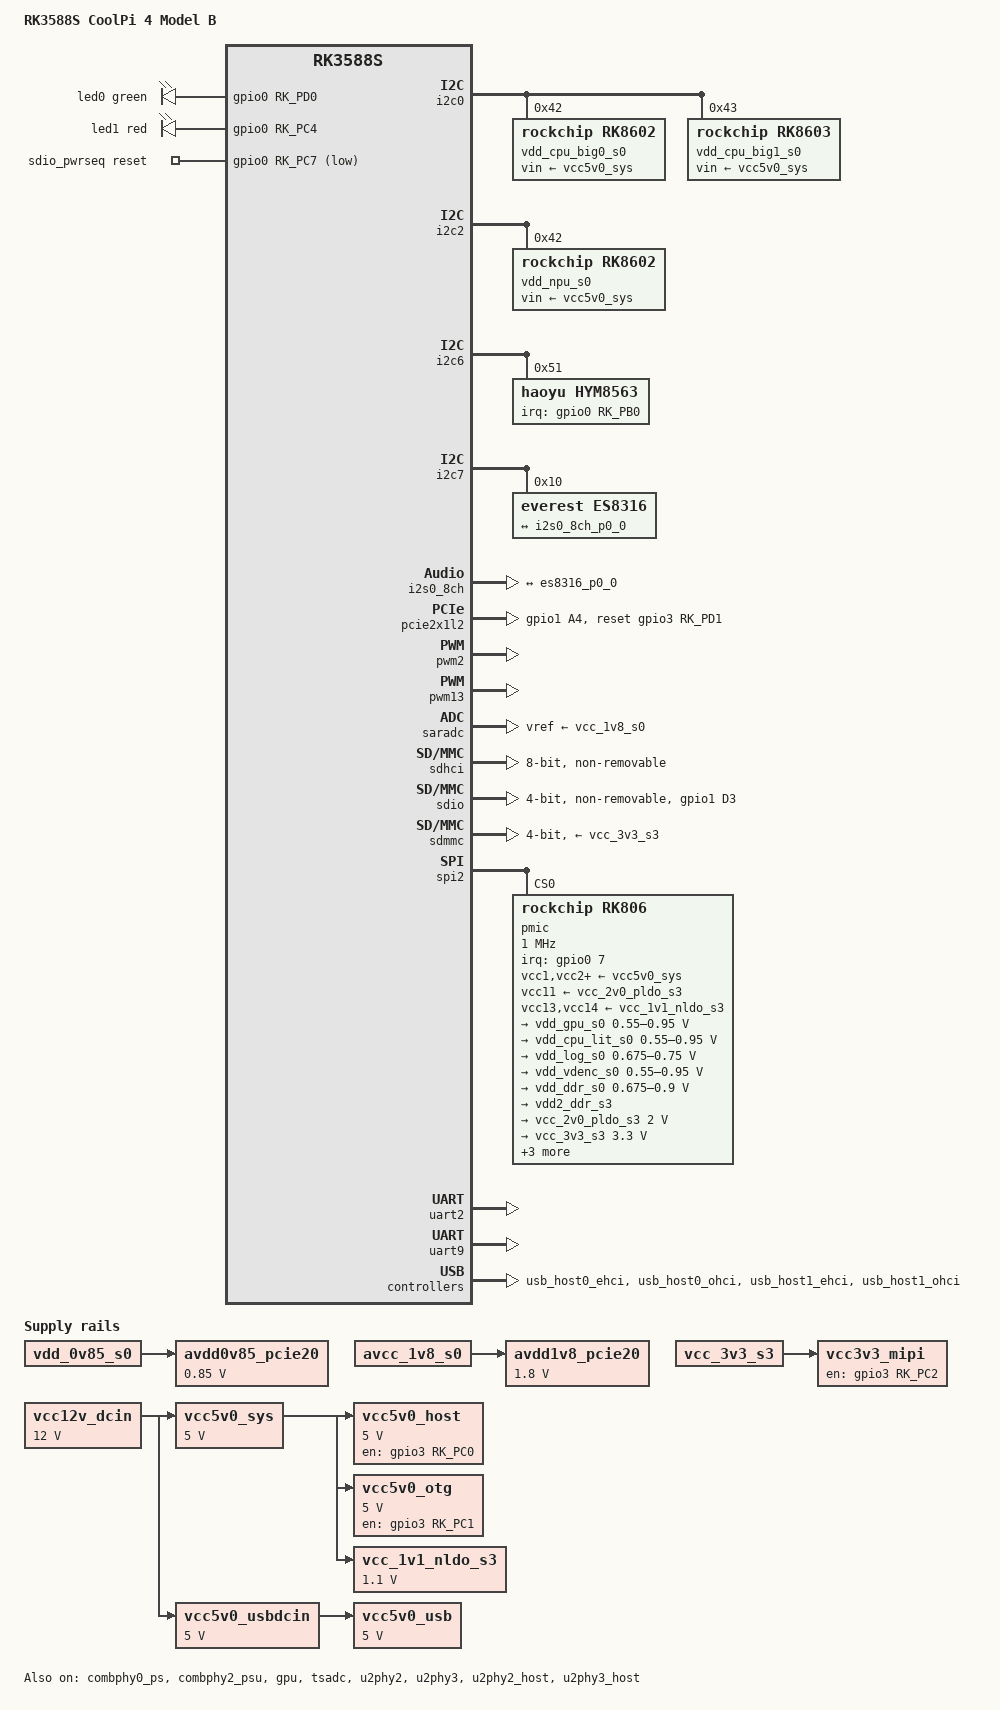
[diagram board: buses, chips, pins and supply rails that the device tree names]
// SPDX-License-Identifier: (GPL-2.0+ OR MIT)
/*
 * Copyright (c) 2023 Rockchip Electronics Co., Ltd.
 *
 * https://cool-pi.com/topic/130/coolpi-4b-product-spec-introduction
 *
 */

/dts-v1/;

#include <dt-bindings/gpio/gpio.h>
#include <dt-bindings/leds/common.h>
#include <dt-bindings/pinctrl/rockchip.h>
#include "rk3588s.dtsi"

/ {
	model = "RK3588S CoolPi 4 Model B";
	compatible = "coolpi,pi-4b", "rockchip,rk3588s";

	aliases {
		mmc0 = &sdhci;
		mmc1 = &sdmmc;
		mmc2 = &sdio;
	};

	analog-sound {
		compatible = "audio-graph-card";
		dais = <&i2s0_8ch_p0>;
		label = "rk3588-es8316";
		routing = "MIC2", "Mic Jack",
			  "Headphones", "HPOL",
			  "Headphones", "HPOR";
		widgets = "Microphone", "Mic Jack",
			  "Headphone", "Headphones";
	};

	chosen {
		stdout-path = "serial2:1500000n8";
	};

	leds: leds {
		compatible = "gpio-leds";
		pinctrl-names = "default";
		pinctrl-0 = <&gpio_leds>;

		led0: led-green {
			color = <LED_COLOR_ID_GREEN>;
			function = LED_FUNCTION_STATUS;
			gpios = <&gpio0 RK_PD0 GPIO_ACTIVE_HIGH>;
			linux,default-trigger = "heartbeat";
		};

		led1: led-red {
			color = <LED_COLOR_ID_RED>;
			default-state = "off";
			function = LED_FUNCTION_WLAN;
			gpios = <&gpio0 RK_PC4 GPIO_ACTIVE_HIGH>;
			linux,default-trigger = "phy0tx";
		};
	};

	sdio_pwrseq: sdio-pwrseq {
		compatible = "mmc-pwrseq-simple";
		clocks = <&hym8563>;
		clock-names = "ext_clock";
		pinctrl-names = "default";
		pinctrl-0 = <&wifi_enable_h>;
		/*
		 * On the module itself this is one of these (depending
		 * on the actual card populated):
		 * - SDIO_RESET_L_WL_REG_ON
		 * - PDN (power down when low)
		 */
		post-power-on-delay-ms = <200>;
		reset-gpios = <&gpio0 RK_PC7 GPIO_ACTIVE_LOW>;
	};

	vcc12v_dcin: vcc12v-dcin-regulator {
		compatible = "regulator-fixed";
		regulator-name = "vcc12v_dcin";
		regulator-always-on;
		regulator-boot-on;
		regulator-min-microvolt = <12000000>;
		regulator-max-microvolt = <12000000>;
	};

	vcc5v0_sys: vcc5v0-sys-regulator {
		compatible = "regulator-fixed";
		regulator-name = "vcc5v0_sys";
		regulator-always-on;
		regulator-boot-on;
		regulator-min-microvolt = <5000000>;
		regulator-max-microvolt = <5000000>;
		vin-supply = <&vcc12v_dcin>;
	};

	vcc5v0_usbdcin: vcc5v0-usbdcin-regulator {
		compatible = "regulator-fixed";
		regulator-name = "vcc5v0_usbdcin";
		regulator-always-on;
		regulator-boot-on;
		regulator-min-microvolt = <5000000>;
		regulator-max-microvolt = <5000000>;
		vin-supply = <&vcc12v_dcin>;
	};

	vcc5v0_usb: vcc5v0-usb-regulator {
		compatible = "regulator-fixed";
		regulator-name = "vcc5v0_usb";
		regulator-always-on;
		regulator-boot-on;
		regulator-min-microvolt = <5000000>;
		regulator-max-microvolt = <5000000>;
		vin-supply = <&vcc5v0_usbdcin>;
	};

	avdd0v85_pcie20: avdd0v85-pcie20-regulator {
		compatible = "regulator-fixed";
		regulator-name = "avdd0v85_pcie20";
		regulator-boot-on;
		regulator-always-on;
		regulator-min-microvolt = <850000>;
		regulator-max-microvolt = <850000>;
		vin-supply = <&vdd_0v85_s0>;
	};

	avdd1v8_pcie20: avdd1v8-pcie20-regulator {
		compatible = "regulator-fixed";
		regulator-name = "avdd1v8_pcie20";
		regulator-boot-on;
		regulator-always-on;
		regulator-min-microvolt = <1800000>;
		regulator-max-microvolt = <1800000>;
		vin-supply = <&avcc_1v8_s0>;
	};

	vcc3v3_mipi: vcc3v3-mipi-regulator {
		compatible = "regulator-fixed";
		enable-active-high;
		gpio = <&gpio3 RK_PC2 GPIO_ACTIVE_HIGH>;
		regulator-name = "vcc3v3_mipi";
		regulator-boot-on;
		regulator-always-on;
		vin-supply = <&vcc_3v3_s3>;
	};

	vcc5v0_host: vcc5v0-host-regulator {
		compatible = "regulator-fixed";
		enable-active-high;
		gpio = <&gpio3 RK_PC0 GPIO_ACTIVE_HIGH>;
		pinctrl-names = "default";
		pinctrl-0 = <&vcc5v0_host_en>;
		regulator-name = "vcc5v0_host";
		regulator-boot-on;
		regulator-always-on;
		regulator-min-microvolt = <5000000>;
		regulator-max-microvolt = <5000000>;
		vin-supply = <&vcc5v0_sys>;
	};

	vcc5v0_otg: vcc5v0-otg-regulator {
		compatible = "regulator-fixed";
		enable-active-high;
		gpio = <&gpio3 RK_PC1 GPIO_ACTIVE_HIGH>;
		pinctrl-names = "default";
		pinctrl-0 = <&vcc5v0_u3host_en>;
		regulator-name = "vcc5v0_otg";
		regulator-boot-on;
		regulator-always-on;
		regulator-min-microvolt = <5000000>;
		regulator-max-microvolt = <5000000>;
		vin-supply = <&vcc5v0_sys>;
	};

	vcc_1v1_nldo_s3: vcc-1v1-nldo-s3-regulator {
		compatible = "regulator-fixed";
		regulator-name = "vcc_1v1_nldo_s3";
		regulator-always-on;
		regulator-boot-on;
		regulator-min-microvolt = <1100000>;
		regulator-max-microvolt = <1100000>;
		vin-supply = <&vcc5v0_sys>;
	};
};

&combphy0_ps {
	status = "okay";
};

&combphy2_psu {
	status = "okay";
};

&cpu_l0 {
	cpu-supply = <&vdd_cpu_lit_s0>;
};

&cpu_b0 {
	cpu-supply = <&vdd_cpu_big0_s0>;
};

&cpu_b2 {
	cpu-supply = <&vdd_cpu_big1_s0>;
};

&gpu {
	mali-supply = <&vdd_gpu_s0>;
	status = "okay";
};

&i2c0 {
	pinctrl-0 = <&i2c0m2_xfer>;
	status = "okay";

	vdd_cpu_big0_s0: regulator@42 {
		compatible = "rockchip,rk8602";
		reg = <0x42>;
		fcs,suspend-voltage-selector = <1>;
		regulator-name = "vdd_cpu_big0_s0";
		regulator-always-on;
		regulator-boot-on;
		regulator-min-microvolt = <550000>;
		regulator-max-microvolt = <1050000>;
		regulator-ramp-delay = <2300>;
		vin-supply = <&vcc5v0_sys>;

		regulator-state-mem {
			regulator-off-in-suspend;
		};
	};

	vdd_cpu_big1_s0: regulator@43 {
		compatible = "rockchip,rk8603", "rockchip,rk8602";
		reg = <0x43>;
		fcs,suspend-voltage-selector = <1>;
		regulator-name = "vdd_cpu_big1_s0";
		regulator-always-on;
		regulator-boot-on;
		regulator-min-microvolt = <550000>;
		regulator-max-microvolt = <1050000>;
		regulator-ramp-delay = <2300>;
		vin-supply = <&vcc5v0_sys>;

		regulator-state-mem {
			regulator-off-in-suspend;
		};
	};
};

&i2c2 {
	status = "okay";

	vdd_npu_s0: regulator@42 {
		compatible = "rockchip,rk8602";
		reg = <0x42>;
		fcs,suspend-voltage-selector = <1>;
		regulator-name = "vdd_npu_s0";
		regulator-always-on;
		regulator-boot-on;
		regulator-min-microvolt = <550000>;
		regulator-max-microvolt = <950000>;
		regulator-ramp-delay = <2300>;
		vin-supply = <&vcc5v0_sys>;

		regulator-state-mem {
			regulator-off-in-suspend;
		};
	};
};

&i2c6 {
	pinctrl-0 = <&i2c6m3_xfer>;
	status = "okay";

	hym8563: rtc@51 {
		compatible = "haoyu,hym8563";
		reg = <0x51>;
		interrupt-parent = <&gpio0>;
		interrupts = <RK_PB0 IRQ_TYPE_LEVEL_LOW>;
		#clock-cells = <0>;
		clock-output-names = "hym8563";
		pinctrl-names = "default";
		pinctrl-0 = <&hym8563_int>;
	};
};

&i2c7 {
	pinctrl-0 = <&i2c7m0_xfer>;
	status = "okay";

	es8316: audio-codec@10 {
		compatible = "everest,es8316";
		reg = <0x10>;
		assigned-clocks = <&cru I2S0_8CH_MCLKOUT>;
		assigned-clock-rates = <12288000>;
		clocks = <&cru I2S0_8CH_MCLKOUT>;
		clock-names = "mclk";
		#sound-dai-cells = <0>;

		port {
			es8316_p0_0: endpoint {
				remote-endpoint = <&i2s0_8ch_p0_0>;
			};
		};
	};
};

&i2s0_8ch {
	pinctrl-0 = <&i2s0_lrck
		     &i2s0_mclk
		     &i2s0_sclk
		     &i2s0_sdi0
		     &i2s0_sdo0>;
	status = "okay";

	i2s0_8ch_p0: port {
		i2s0_8ch_p0_0: endpoint {
			dai-format = "i2s";
			mclk-fs = <256>;
			remote-endpoint = <&es8316_p0_0>;
		};
	};
};

&pcie2x1l2 {
	pinctrl-names = "default";
	pinctrl-0 = <&rtl8111_isolate>;
	reset-gpios = <&gpio3 RK_PD1 GPIO_ACTIVE_HIGH>;
	status = "okay";
};

&pinctrl {
	hym8563 {
		hym8563_int: hym8563-int {
			rockchip,pins = <0 RK_PB0 RK_FUNC_GPIO &pcfg_pull_up>;
		};
	};

	led {
		gpio_leds: gpio-leds {
			rockchip,pins = <0 RK_PC4 RK_FUNC_GPIO &pcfg_pull_down>,
					<0 RK_PD0 RK_FUNC_GPIO &pcfg_pull_down>;
		};
	};

	rtl8111 {
		rtl8111_isolate: rtl8111-isolate {
			rockchip,pins = <1 RK_PA4 RK_FUNC_GPIO &pcfg_pull_up>;
		};
	};

	sdio-pwrseq {
		wifi_enable_h: wifi-enable-h {
			rockchip,pins = <0 RK_PC7 RK_FUNC_GPIO &pcfg_pull_up>;
		};
	};

	usb {
		vcc5v0_host_en: vcc5v0-host-en {
			rockchip,pins = <3 RK_PC0 RK_FUNC_GPIO &pcfg_pull_none>,
					<4 RK_PB5 RK_FUNC_GPIO &pcfg_pull_up>;
		};

		vcc5v0_u3host_en: vcc5v0-u3host-en {
			rockchip,pins = <3 RK_PC1 RK_FUNC_GPIO &pcfg_pull_none>;
		};
	};

	wireless-bluetooth {
		bt_reset_gpio: bt-reset-pin {
			rockchip,pins = <0 RK_PD3 RK_FUNC_GPIO &pcfg_pull_none>;
		};

		bt_wake_gpio: bt-wake-pin {
			rockchip,pins = <0 RK_PC6 RK_FUNC_GPIO &pcfg_pull_none>;
		};

		bt_wake_host_irq: bt-wake-host-irq {
			rockchip,pins = <0 RK_PC5 RK_FUNC_GPIO &pcfg_pull_down>;
		};
	};

	wireless-wlan {
		wifi_host_wake_irq: wifi-host-wake-irq {
			rockchip,pins = <0 RK_PA0 RK_FUNC_GPIO &pcfg_pull_down>;
		};

		wifi_poweren_pin: wifi-poweren-pin {
			rockchip,pins = <1 RK_PD3 RK_FUNC_GPIO &pcfg_pull_up>;
		};
	};
};

&pwm2 {
	pinctrl-0 = <&pwm2m1_pins>;
	status = "okay";
};

&pwm13 {
	pinctrl-names = "active";
	pinctrl-0 = <&pwm13m2_pins>;
	status = "okay";
};

&saradc {
	vref-supply = <&vcc_1v8_s0>;
	status = "okay";
};

&sdhci {
	bus-width = <8>;
	max-frequency = <200000000>;
	mmc-hs400-1_8v;
	mmc-hs400-enhanced-strobe;
	no-sdio;
	no-sd;
	non-removable;
	status = "okay";
};

&sdio {
	bus-width = <4>;
	cap-sd-highspeed;
	cap-sdio-irq;
	disable-wp;
	keep-power-in-suspend;
	max-frequency = <150000000>;
	mmc-pwrseq = <&sdio_pwrseq>;
	no-sd;
	no-mmc;
	non-removable;
	pinctrl-names = "default";
	pinctrl-0 = <&sdiom1_pins>,<&wifi_poweren_pin>;
	status = "okay";
};

&sdmmc {
	bus-width = <4>;
	cap-mmc-highspeed;
	cap-sd-highspeed;
	disable-wp;
	max-frequency = <150000000>;
	no-sdio;
	no-mmc;
	sd-uhs-sdr104;
	vmmc-supply = <&vcc_3v3_s3>;
	vqmmc-supply = <&vccio_sd_s0>;
	status = "okay";
};

&spi2 {
	assigned-clocks = <&cru CLK_SPI2>;
	assigned-clock-rates = <200000000>;
	num-cs = <1>;
	pinctrl-names = "default";
	pinctrl-0 = <&spi2m2_cs0 &spi2m2_pins>;
	status = "okay";

	pmic@0 {
		compatible = "rockchip,rk806";
		reg = <0x0>;
		interrupt-parent = <&gpio0>;
		interrupts = <7 IRQ_TYPE_LEVEL_LOW>;
		gpio-controller;
		#gpio-cells = <2>;
		pinctrl-names = "default";
		pinctrl-0 = <&pmic_pins>, <&rk806_dvs1_null>,
			    <&rk806_dvs2_null>, <&rk806_dvs3_null>;
		spi-max-frequency = <1000000>;
		vcc1-supply = <&vcc5v0_sys>;
		vcc2-supply = <&vcc5v0_sys>;
		vcc3-supply = <&vcc5v0_sys>;
		vcc4-supply = <&vcc5v0_sys>;
		vcc5-supply = <&vcc5v0_sys>;
		vcc6-supply = <&vcc5v0_sys>;
		vcc7-supply = <&vcc5v0_sys>;
		vcc8-supply = <&vcc5v0_sys>;
		vcc9-supply = <&vcc5v0_sys>;
		vcc10-supply = <&vcc5v0_sys>;
		vcc11-supply = <&vcc_2v0_pldo_s3>;
		vcc12-supply = <&vcc5v0_sys>;
		vcc13-supply = <&vcc_1v1_nldo_s3>;
		vcc14-supply = <&vcc_1v1_nldo_s3>;
		vcca-supply = <&vcc5v0_sys>;

		rk806_dvs1_null: dvs1-null-pins {
			pins = "gpio_pwrctrl1";
			function = "pin_fun0";
		};

		rk806_dvs2_null: dvs2-null-pins {
			pins = "gpio_pwrctrl2";
			function = "pin_fun0";
		};

		rk806_dvs3_null: dvs3-null-pins {
			pins = "gpio_pwrctrl3";
			function = "pin_fun0";
		};

		regulators {
			vdd_gpu_s0: vdd_gpu_mem_s0: dcdc-reg1 {
				regulator-name = "vdd_gpu_s0";
				regulator-boot-on;
				regulator-min-microvolt = <550000>;
				regulator-max-microvolt = <950000>;
				regulator-ramp-delay = <12500>;
				regulator-enable-ramp-delay = <400>;

				regulator-state-mem {
					regulator-off-in-suspend;
				};
			};

			vdd_cpu_lit_s0: vdd_cpu_lit_mem_s0: dcdc-reg2 {
				regulator-name = "vdd_cpu_lit_s0";
				regulator-always-on;
				regulator-boot-on;
				regulator-min-microvolt = <550000>;
				regulator-max-microvolt = <950000>;
				regulator-ramp-delay = <12500>;

				regulator-state-mem {
					regulator-off-in-suspend;
				};
			};

			vdd_log_s0: dcdc-reg3 {
				regulator-name = "vdd_log_s0";
				regulator-always-on;
				regulator-boot-on;
				regulator-min-microvolt = <675000>;
				regulator-max-microvolt = <750000>;
				regulator-ramp-delay = <12500>;

				regulator-state-mem {
					regulator-off-in-suspend;
					regulator-suspend-microvolt = <750000>;
				};
			};

			vdd_vdenc_s0: vdd_vdenc_mem_s0: dcdc-reg4 {
				regulator-name = "vdd_vdenc_s0";
				regulator-always-on;
				regulator-boot-on;
				regulator-min-microvolt = <550000>;
				regulator-max-microvolt = <950000>;
				regulator-ramp-delay = <12500>;

				regulator-state-mem {
					regulator-off-in-suspend;
				};
			};

			vdd_ddr_s0: dcdc-reg5 {
				regulator-name = "vdd_ddr_s0";
				regulator-always-on;
				regulator-boot-on;
				regulator-min-microvolt = <675000>;
				regulator-max-microvolt = <900000>;
				regulator-ramp-delay = <12500>;

				regulator-state-mem {
					regulator-off-in-suspend;
					regulator-suspend-microvolt = <850000>;
				};
			};

			vdd2_ddr_s3: dcdc-reg6 {
				regulator-name = "vdd2_ddr_s3";
				regulator-always-on;
				regulator-boot-on;

				regulator-state-mem {
					regulator-on-in-suspend;
				};
			};

			vcc_2v0_pldo_s3: dcdc-reg7 {
				regulator-name = "vdd_2v0_pldo_s3";
				regulator-always-on;
				regulator-boot-on;
				regulator-min-microvolt = <2000000>;
				regulator-max-microvolt = <2000000>;
				regulator-ramp-delay = <12500>;

				regulator-state-mem {
					regulator-on-in-suspend;
					regulator-suspend-microvolt = <2000000>;
				};
			};

			vcc_3v3_s3: dcdc-reg8 {
				regulator-name = "vcc_3v3_s3";
				regulator-always-on;
				regulator-boot-on;
				regulator-min-microvolt = <3300000>;
				regulator-max-microvolt = <3300000>;

				regulator-state-mem {
					regulator-on-in-suspend;
					regulator-suspend-microvolt = <3300000>;
				};
			};

			vddq_ddr_s0: dcdc-reg9 {
				regulator-name = "vddq_ddr_s0";
				regulator-always-on;
				regulator-boot-on;

				regulator-state-mem {
					regulator-off-in-suspend;
				};
			};

			vcc_1v8_s3: dcdc-reg10 {
				regulator-name = "vcc_1v8_s3";
				regulator-always-on;
				regulator-boot-on;
				regulator-min-microvolt = <1800000>;
				regulator-max-microvolt = <1800000>;

				regulator-state-mem {
					regulator-on-in-suspend;
					regulator-suspend-microvolt = <1800000>;
				};
			};

			avcc_1v8_s0: pldo-reg1 {
				regulator-name = "avcc_1v8_s0";
				regulator-always-on;
				regulator-boot-on;
				regulator-min-microvolt = <1800000>;
				regulator-max-microvolt = <1800000>;

				regulator-state-mem {
					regulator-off-in-suspend;
				};
			};

			vcc_1v8_s0: pldo-reg2 {
				regulator-name = "vcc_1v8_s0";
				regulator-always-on;
				regulator-boot-on;
				regulator-min-microvolt = <1800000>;
				regulator-max-microvolt = <1800000>;

				regulator-state-mem {
					regulator-off-in-suspend;
					regulator-suspend-microvolt = <1800000>;
				};
			};

			avdd_1v2_s0: pldo-reg3 {
				regulator-name = "avdd_1v2_s0";
				regulator-always-on;
				regulator-boot-on;
				regulator-min-microvolt = <1200000>;
				regulator-max-microvolt = <1200000>;

				regulator-state-mem {
					regulator-off-in-suspend;
				};
			};

			vcc_3v3_s0: pldo-reg4 {
				regulator-name = "vcc_3v3_s0";
				regulator-always-on;
				regulator-boot-on;
				regulator-min-microvolt = <3300000>;
				regulator-max-microvolt = <3300000>;
				regulator-ramp-delay = <12500>;

				regulator-state-mem {
					regulator-off-in-suspend;
				};
			};

			vccio_sd_s0: pldo-reg5 {
				regulator-name = "vccio_sd_s0";
				regulator-always-on;
				regulator-boot-on;
				regulator-min-microvolt = <1800000>;
				regulator-max-microvolt = <3300000>;
				regulator-ramp-delay = <12500>;

				regulator-state-mem {
					regulator-off-in-suspend;
				};
			};

			pldo6_s3: pldo-reg6 {
				regulator-name = "pldo6_s3";
				regulator-always-on;
				regulator-boot-on;
				regulator-min-microvolt = <1800000>;
				regulator-max-microvolt = <1800000>;

				regulator-state-mem {
					regulator-on-in-suspend;
					regulator-suspend-microvolt = <1800000>;
				};
			};

			vdd_0v75_s3: nldo-reg1 {
				regulator-name = "vdd_0v75_s3";
				regulator-always-on;
				regulator-boot-on;
				regulator-min-microvolt = <750000>;
				regulator-max-microvolt = <750000>;

				regulator-state-mem {
					regulator-on-in-suspend;
					regulator-suspend-microvolt = <750000>;
				};
			};

			vdd_ddr_pll_s0: nldo-reg2 {
				regulator-name = "vdd_ddr_pll_s0";
				regulator-always-on;
				regulator-boot-on;
				regulator-min-microvolt = <850000>;
				regulator-max-microvolt = <850000>;

				regulator-state-mem {
					regulator-off-in-suspend;
					regulator-suspend-microvolt = <850000>;
				};
			};

			avdd_0v75_s0: nldo-reg3 {
				regulator-name = "avdd_0v75_s0";
				regulator-always-on;
				regulator-boot-on;
				regulator-min-microvolt = <750000>;
				regulator-max-microvolt = <750000>;

				regulator-state-mem {
					regulator-off-in-suspend;
				};
			};

			vdd_0v85_s0: nldo-reg4 {
				regulator-name = "vdd_0v85_s0";
				regulator-always-on;
				regulator-boot-on;
				regulator-min-microvolt = <850000>;
				regulator-max-microvolt = <850000>;

				regulator-state-mem {
					regulator-off-in-suspend;
				};
			};

			vdd_0v75_s0: nldo-reg5 {
				regulator-name = "vdd_0v75_s0";
				regulator-always-on;
				regulator-boot-on;
				regulator-min-microvolt = <750000>;
				regulator-max-microvolt = <750000>;

				regulator-state-mem {
					regulator-off-in-suspend;
				};
			};
		};
	};
};

&tsadc {
	status = "okay";
};

&u2phy2 {
	status = "okay";
};

&u2phy3 {
	status = "okay";
};

&u2phy2_host {
	phy-supply = <&vcc5v0_host>;
	status = "okay";
};

&u2phy3_host {
	status = "okay";
};

&uart2 {
	pinctrl-0 = <&uart2m0_xfer>;
	status = "okay";
};

/* bt */
&uart9 {
	status = "okay";
	pinctrl-names = "default";
	pinctrl-0 = <&uart9m2_xfer &uart9m2_ctsn>;
};

&usb_host0_ehci {
	status = "okay";
};

&usb_host0_ohci {
	status = "okay";
};

&usb_host1_ehci {
	status = "okay";
};

&usb_host1_ohci {
	status = "okay";
};
